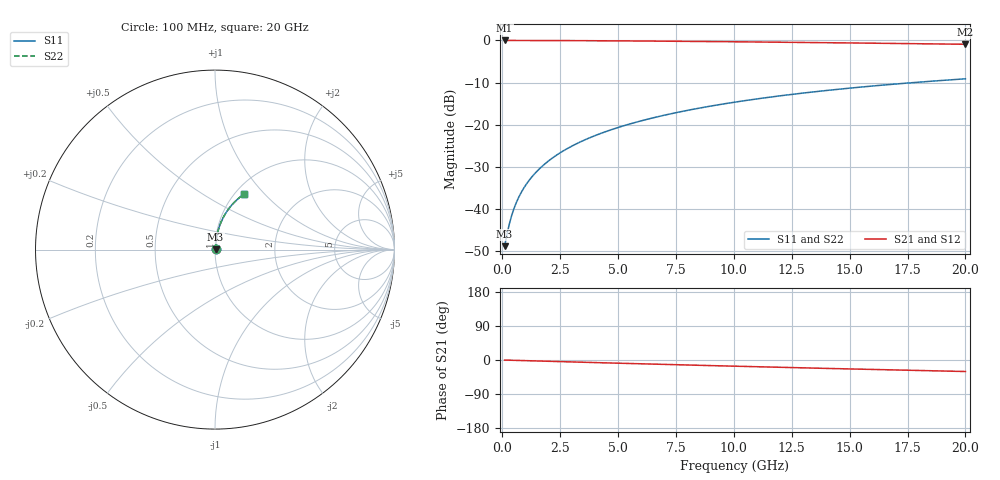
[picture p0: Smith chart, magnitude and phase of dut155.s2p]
! Touchstone file exported from HFSS 2024.1.0
!  File:  C:/UserFiles/LocalFiles/RDL_TSV_Batchsim/temp_RDL_bottom_155_1778697554.aedt
!  Generated:  02:41:59 AM May 14, 2026
!  Design:  RDL_bottom
!  Project:  temp_RDL_bottom_155_1778697554
!  Setup:  Setup1
!  Solution:  Sweep
! Variables:
!  dtsv = 10.80580581um
!  hbump = 3um
!  htsv = 89.37um
!  ldown = 385.25um
!  lrdl = 100um
!  p = 40
!  p1 = 43.75um
!  rhole = 1um
!  t = 450um
!  tdown = 3.48um
!  trdl = 3.915915916um
!  wdown = 13.22um
!  wrdl = 20um
# GHz S MA R 50.000000
! Terminal data exported
! Port[1] = RDL1_T1
! Port[2] = RDL1_T2
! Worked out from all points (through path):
!   200 points, 100 MHz to 20 GHz, reference 50 ohm
!   highest |S21| = -0.03 dB at 100 MHz (marker M1); lowest = -0.9 dB at 20 GHz (marker M2)
!   group delay of S21, straight-line fit = 4.21 ps
!   lowest |S11| = -48.8 dB at 100 MHz (marker M3), VSWR 1.01, Z = 50.3 + j0.196 ohm
!   |S11| at or under -10 dB: start of sweep to 17.76 GHz
!   |S22| runs from -48.8 to -9.1 dB; largest |S21 - S12| = 5.5e-15
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0.1  0.003651 32.2  0.9969 -0.2  0.9969 -0.2  0.003651 32.2
! Gamma 0 0 0 0
! Port Impedance 50 0 50 0
0.2  0.004991 50.9  0.9968 -0.4  0.9968 -0.4  0.004991 50.9
0.3  0.006617 60.7  0.9968 -0.5  0.9968 -0.5  0.006617 60.7
0.4  0.008342 66.5  0.9967 -0.7  0.9967 -0.7  0.008342 66.5
0.5  0.01011 70.2  0.9966 -0.9  0.9966 -0.9  0.01011 70.2
0.6  0.01189 72.8  0.9965 -1.0  0.9965 -1.0  0.01189 72.8
0.8  0.01548 76.1  0.9963 -1.4  0.9963 -1.4  0.01548 76.1
1.1  0.02091 78.9  0.9959 -1.9  0.9959 -1.9  0.02091 78.9
1.5  0.02821 80.9  0.9954 -2.6  0.9954 -2.6  0.02821 80.9
1.8  0.03371 81.6  0.995 -3.1  0.995 -3.1  0.03371 81.6
2.1  0.03923 82.1  0.9945 -3.6  0.9945 -3.6  0.03923 82.1
2.7  0.0503 82.5  0.9932 -4.6  0.9932 -4.6  0.0503 82.5
3.5  0.06509 82.4  0.9912 -6.0  0.9912 -6.0  0.06509 82.4
4.2  0.07806 82.0  0.989 -7.1  0.989 -7.1  0.07806 82.0
5  0.09288 81.4  0.9862 -8.4  0.9862 -8.4  0.09288 81.3
5.9  0.1096 80.5  0.9825 -9.9  0.9825 -9.9  0.1095 80.5
6.8  0.1262 79.5  0.9786 -11.3  0.9786 -11.3  0.1262 79.5
8.3  0.1538 77.7  0.9712 -13.7  0.9712 -13.7  0.1538 77.7
10.1  0.1865 75.4  0.9615 -16.5  0.9615 -16.5  0.1864 75.4
13.4  0.2446 71.0  0.9419 -21.3  0.9419 -21.3  0.2445 71.0
16.7  0.2994 66.6  0.9206 -26.0  0.9206 -26.0  0.2994 66.6
20  0.3503 62.2  0.8983 -30.4  0.8983 -30.4  0.3503 62.2
